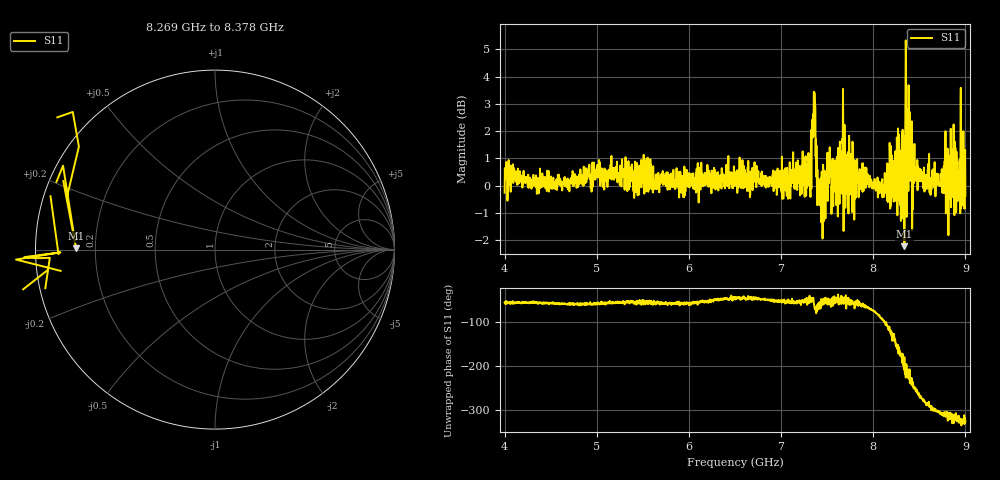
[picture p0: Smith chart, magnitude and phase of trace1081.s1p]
! Created with skrf 1.8.0 (http://scikit-rf.org).
# Hz S RI R 50.0
!freq ReS11 ImS11
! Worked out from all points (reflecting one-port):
!   1601 points, 4 GHz to 9 GHz, reference 50 ohm
!   lowest |S11| = -2.2 dB at 8.338 GHz (marker M1), VSWR 7.85, Z = 6.37 + j0.213 ohm
!   phase of S11 starts at -57 deg and turns -268 deg over the sweep
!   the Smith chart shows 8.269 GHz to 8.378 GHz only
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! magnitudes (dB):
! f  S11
! 4 GHz  -0.3
! 4.1 GHz  0.5
! 4.625 GHz  -0.2
! 5.25 GHz  0.0
! 5.875 GHz  0.3
! 6.5 GHz  0.3
! 7.125 GHz  0.2
! 7.294 GHz  0.4
! 7.359 GHz  1.8
! 7.4 GHz  -0.1
! 7.425 GHz  -0.1
! 7.519 GHz  1.0
! 7.609 GHz  1.1
! 7.669 GHz  1.5
! 7.703 GHz  0.6
! 7.75 GHz  0.1
! 8.15 GHz  -0.5
! 8.262 GHz  -1.1
! 8.316 GHz  -0.4
! 8.334 GHz  -0.3
! 8.338 GHz  -2.2
! 8.375 GHz  2.8
! 8.384 GHz  3.7
! 8.394 GHz  1.1
! 8.447 GHz  1.5
! 8.734 GHz  0.3
! 8.959 GHz  1.6
! 9 GHz  -0.4
